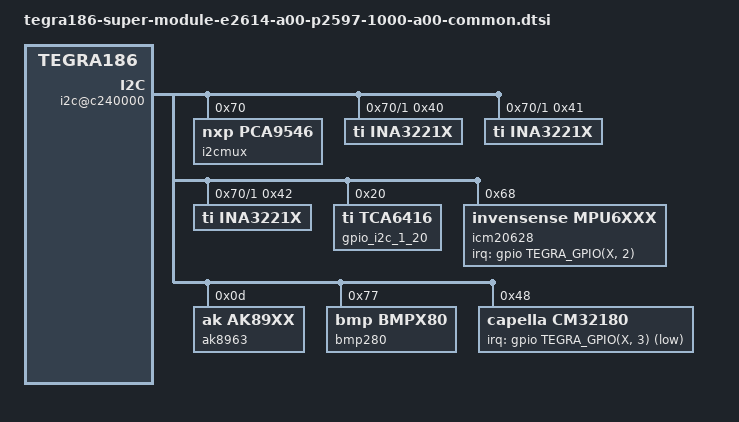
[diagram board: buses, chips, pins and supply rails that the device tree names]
/*
 * tegra186-super-module-e2614-a00-p2597-1000-a00-common.dtsi: Jetson super module E2614
 *
 * Copyright (c) 2015, NVIDIA CORPORATION.  All rights reserved.
 *
 * This program is free software; you can redistribute it and/or modify
 * it under the terms of the GNU General Public License as published by
 * the Free Software Foundation; version 2 of the License.
 *
 * This program is distributed in the hope that it will be useful, but WITHOUT
 * ANY WARRANTY; without even the implied warranty of MERCHANTABILITY or
 * FITNESS FOR A PARTICULAR PURPOSE.  See the GNU General Public License for
 * more details.
 */

#include "tegra186-super-module-e2614-gps.dtsi"

/ {
	i2c@c240000 {
		i2cmux@70 {
			compatible = "nxp,pca9546";
			reg = <0x70>;
			#address-cells = <1>;
			#size-cells = <0>;
			i2c@0 {
				reg = <0>;
				i2c-mux,deselect-on-exit;
				#address-cells = <1>;
				#size-cells = <0>;
			};
			i2c@1 {
				reg = <1>;
				i2c-mux,deselect-on-exit;
				#address-cells = <1>;
				#size-cells = <0>;
				ina3221x@40 {
					compatible = "ti,ina3221x";
					reg = <0x40>;
					ti,trigger-config = <0x7003>;
					ti,continuous-config = <0x7c07>;
					#address-cells = <1>;
					#size-cells = <0>;
					channel@0 {
						reg = <0x0>;
						ti,rail-name = "VDD_5V";
						ti,shunt-resistor-mohm = <10>;
					};
					channel@1 {
						reg = <0x1>;
						ti,rail-name = "VDD_3V3";
						ti,shunt-resistor-mohm = <10>;
					};
					channel@2 {
						reg = <0x2>;
						ti,rail-name = "VDD_1V8";
						ti,shunt-resistor-mohm = <1>;
					};
				};
				ina3221x@41 {
					compatible = "ti,ina3221x";
					reg = <0x41>;
					ti,trigger-config = <0x7003>;
					ti,continuous-config = <0x7c07>;
					#address-cells = <1>;
					#size-cells = <0>;
					channel@0 {
						reg = <0x0>;
						ti,rail-name = "VDD_5V_AUD";
						ti,shunt-resistor-mohm = <1>;
					};
					channel@1 {
						reg = <0x1>;
						ti,rail-name = "VDD_3V3_AUD";
						ti,shunt-resistor-mohm = <10>;
					};
					channel@2 {
						reg = <0x2>;
						ti,rail-name = "VDD_1V8_AUD";
						ti,shunt-resistor-mohm = <10>;
					};
				};
				ina3221x@42 {
					compatible = "ti,ina3221x";
					reg = <0x42>;
					ti,trigger-config = <0x7003>;
					ti,continuous-config = <0x7c07>;
					#address-cells = <1>;
					#size-cells = <0>;
					channel@0 {
						reg = <0x0>;
						ti,rail-name = "VDD_3V3_GPS";
						ti,shunt-resistor-mohm = <10>;
					};
					channel@1 {
						reg = <0x1>;
						ti,rail-name = "VDD_3V3_NFC";
						ti,shunt-resistor-mohm = <10>;
					};
					channel@2 {
						reg = <0x2>;
						ti,rail-name = "VDD_3V3_GYRO";
						ti,shunt-resistor-mohm = <10>;
					};
				};
			};
			i2c@2 {
				reg = <2>;
				i2c-mux,deselect-on-exit;
				#address-cells = <1>;
				#size-cells = <0>;
			};
			i2c@3 {
				reg = <3>;
				i2c-mux,deselect-on-exit;
				#address-cells = <1>;
				#size-cells = <0>;
			};
		};

		gpio_i2c_1_20: gpio@20 {
			compatible = "ti,tca6416";
			reg = <0x20>;
			gpio-controller;
			#gpio-cells = <2>;
		};
	};

        i2c@c240000 {
                icm20628@68 {
                        compatible = "invensense,mpu6xxx";
                        reg = <0x68>;
                        interrupt-parent = <&gpio>;
                        interrupts = <TEGRA_GPIO(X, 2) 0x01>;
                        accelerometer_matrix = [00 ff 00 01 00 00 00 00 01];
                        gyroscope_matrix = [00 ff 00 01 00 00 00 00 01];
                };

                ak8963@0d {
                        compatible = "ak,ak89xx";
                        reg = <0x0d>;
                        magnetic_field_matrix = [00 ff 00 01 00 00 00 00 01];
                };

                bmp280@77 {
                        compatible = "bmp,bmpX80";
                        reg = <0x77>;
                };

                cm32180@48 {
                        compatible = "capella,cm32180";
                        reg = <0x48>;
                        gpio_irq = <&gpio TEGRA_GPIO(X, 3) GPIO_ACTIVE_LOW>;
                        light_uncalibrated_lo = <1>;
                        light_calibrated_lo = <150>;
                        light_uncalibrated_hi = <95000>;
                        light_calibrated_hi = <1750000>;
                };

                iqs263@44 {
			status = "disabled";
                };
	};
};
